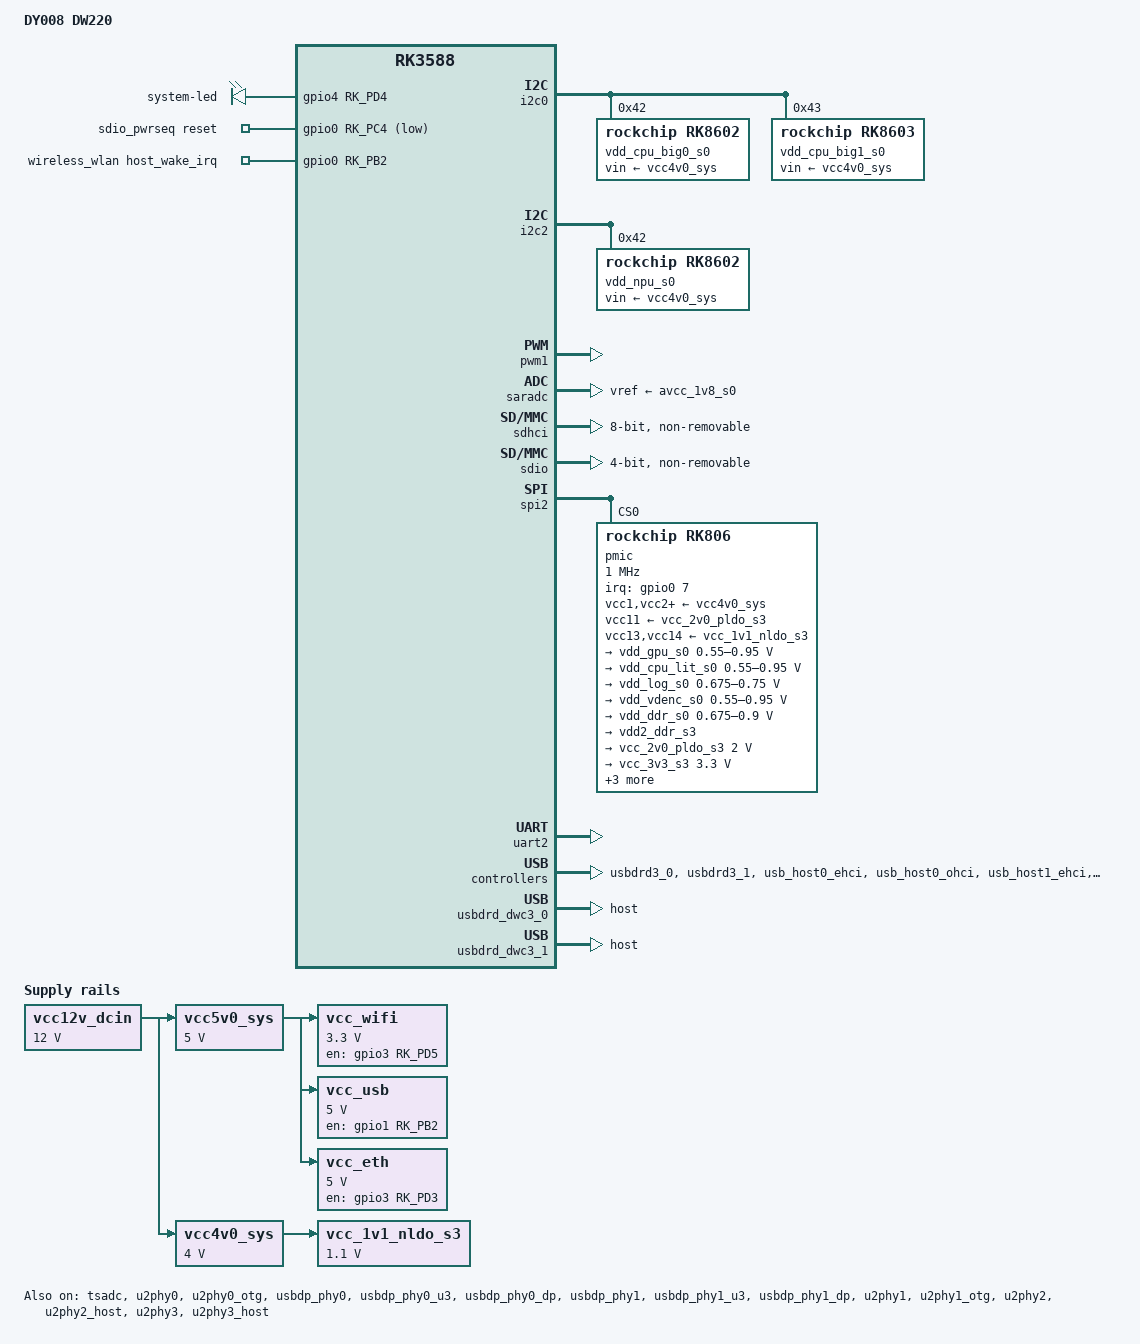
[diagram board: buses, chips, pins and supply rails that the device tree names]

// SPDX-License-Identifier: (GPL-2.0+ OR MIT)
/*
 * Copyright (c) 2021 Rockchip Electronics Co., Ltd.
 * Copyright (c) 2023 Thomas McKahan
 *
 */

/dts-v1/;

#include <dt-bindings/gpio/gpio.h>
#include <dt-bindings/pinctrl/rockchip.h>
#include <dt-bindings/usb/pd.h>
#include "rk3588.dtsi"

/ {
	model = "DY008 DW220";
	compatible = "dy008,dw220", "rockchip,rk3588";

	aliases {
		mmc0 = &sdhci;
		mmc1 = &sdmmc;
	};

	chosen {
		stdout-path = "serial2:1500000n8";
	};

	leds {
		compatible = "gpio-leds";

		sys_led: led-0 {
			gpios = <&gpio4 RK_PD4 GPIO_ACTIVE_HIGH>;
			label = "system-led";
			linux,default-trigger = "heartbeat";
			pinctrl-names = "default";
			pinctrl-0 = <&sys_led_pin>;
		};
	};

	vcc12v_dcin: vcc12v-dcin-regulator {
		compatible = "regulator-fixed";
		regulator-name = "vcc12v_dcin";
		regulator-always-on;
		regulator-boot-on;
		regulator-min-microvolt = <12000000>;
		regulator-max-microvolt = <12000000>;
	};

	/* vcc5v0_sys powers peripherals */
	vcc5v0_sys: vcc5v0-sys-regulator {
		compatible = "regulator-fixed";
		regulator-name = "vcc5v0_sys";
		regulator-always-on;
		regulator-boot-on;
		regulator-min-microvolt = <5000000>;
		regulator-max-microvolt = <5000000>;
		vin-supply = <&vcc12v_dcin>;
	};

	/* vcc4v0_sys powers the RK806, RK860's */
	vcc4v0_sys: vcc4v0-sys-regulator {
		compatible = "regulator-fixed";
		regulator-name = "vcc4v0_sys";
		regulator-always-on;
		regulator-boot-on;
		regulator-min-microvolt = <4000000>;
		regulator-max-microvolt = <4000000>;
		vin-supply = <&vcc12v_dcin>;
	};

	vcc_1v1_nldo_s3: vcc-1v1-nldo-s3-regulator {
		compatible = "regulator-fixed";
		regulator-name = "vcc-1v1-nldo-s3";
		regulator-always-on;
		regulator-boot-on;
		regulator-min-microvolt = <1100000>;
		regulator-max-microvolt = <1100000>;
		vin-supply = <&vcc4v0_sys>;
	};

	vcc_wifi: vcc-wifi {
		compatible = "regulator-fixed";
		regulator-name = "vcc_wifi";
		enable-active-high;
		regulator-always-on;
		regulator-boot-on;
		//gpios = <0x104 0x1d 0x00>;
        gpios = <&gpio3 RK_PD5 GPIO_ACTIVE_HIGH>;
		regulator-min-microvolt = <3300000>;
		regulator-max-microvolt = <3300000>;
		vin-supply = <&vcc5v0_sys>;
	};

    vcc_usb: vcc-usb {
		compatible = "regulator-fixed";
		regulator-name = "vcc_usb";
		enable-active-high;
		regulator-always-on;
		regulator-boot-on;
		//gpios = <0x1ab 0x0a 0x00>;
        gpios = <&gpio1 RK_PB2 GPIO_ACTIVE_HIGH>;
		regulator-min-microvolt = <5000000>;
		regulator-max-microvolt = <5000000>;
		pinctrl-names = "default";
		pinctrl-0 = <&vcc_usb_en>;
		vin-supply = <&vcc5v0_sys>;
	};

    vcc_eth: vcc-eth {
		compatible = "regulator-fixed";
		regulator-name = "vcc_eth";
		enable-active-high;
		regulator-always-on;
		regulator-boot-on;
		//gpios = <0x104 0x1b 0x00>;
        gpios = <&gpio3 RK_PD3 GPIO_ACTIVE_HIGH>;
		regulator-min-microvolt = <5000000>;
		regulator-max-microvolt = <5000000>;
		pinctrl-names = "default";
		pinctrl-0 = <&vcc_eth_en>;
		vin-supply = <&vcc5v0_sys>;
	};

    sdio_pwrseq:sdio-pwrseq {
		compatible = "mmc-pwrseq-simple";
		pinctrl-names = "default";
		pinctrl-0 = <&wifi_en_gpio>;
		//reset-gpios = <0x148 0x14 0x01>;
        reset-gpios = <&gpio0 RK_PC4 GPIO_ACTIVE_LOW>;
	};

	wireless_bluetooth: wireless-bluetooth {
		compatible = "bluetooth-platdata";
		// uart_rts_gpios = <0xe5 0x14 0x01>;
		//uart_rts_gpios = <&gpio4 RK_PC4 GPIO_ACTIVE_LOW>;
		//pinctrl-names = "default", "rts_gpio";
		//pinctrl-0 = <&uart9m0_rtsn>, <&bt_reset_gpio>;
		//pinctrl-1 = <&uart9_gpios>;
		// BT,reset_gpio = <0x12f 0x08 0x01>;
		//BT,reset_gpio = <&gpio0 RK_PB0 GPIO_ACTIVE_LOW>;
		status = "disabled";
	};	// ok

	wireless_wlan: wireless-wlan {
		compatible = "wlan-platdata";
		wifi_chip_type = "ap6256p";
        pinctrl-names = "default";
		pinctrl-0 = <0x1c7>;
        //WIFI,host_wake_irq = <0x148 0x0a 0x00>;
        WIFI,host_wake_irq = <&gpio0 RK_PB2 GPIO_ACTIVE_HIGH>;
		status = "okay";
	};
};

&combphy0_ps {
	status = "disabled";
};

&combphy1_ps {
	status = "disabled";
};

&combphy2_psu {
	status = "disabled";
};

&cpu_l0 {
	cpu-supply = <&vdd_cpu_lit_s0>;
};

&cpu_l1 {
	cpu-supply = <&vdd_cpu_lit_s0>;
};

&cpu_l2 {
	cpu-supply = <&vdd_cpu_lit_s0>;
};

&cpu_l3 {
	cpu-supply = <&vdd_cpu_lit_s0>;
};

&cpu_b0 {
	cpu-supply = <&vdd_cpu_big0_s0>;
};

&cpu_b1 {
	cpu-supply = <&vdd_cpu_big0_s0>;
};

&cpu_b2 {
	cpu-supply = <&vdd_cpu_big1_s0>;
};

&cpu_b3 {
	cpu-supply = <&vdd_cpu_big1_s0>;
};

&gpio0 {
	gpio-line-names = /* GPIO0 A0-A7 */
			  "", "", "", "",
			  "", "", "", "",
			  /* GPIO0 B0-B7 */
			  "", "", "", "",
			  "", "", "", "",
			  /* GPIO0 C0-C7 */
			  "", "", "", "",
			  "HEADER_10", "HEADER_08", "HEADER_32", "",
			  /* GPIO0 D0-D7 */
			  "", "", "", "",
			  "", "", "", "";
};

&gpio1 {
	gpio-line-names = /* GPIO1 A0-A7 */
			  "HEADER_27", "HEADER_28", "", "",
			  "", "", "", "HEADER_15",
			  /* GPIO1 B0-B7 */
			  "HEADER_26", "HEADER_21", "HEADER_19", "HEADER_23",
			  "HEADER_24", "HEADER_22", "", "",
			  /* GPIO1 C0-C7 */
			  "", "", "", "",
			  "", "", "", "",
			  /* GPIO1 D0-D7 */
			  "", "", "", "",
			  "", "", "HEADER_05", "HEADER_03";
};

&gpio2 {
	gpio-line-names = /* GPIO2 A0-A7 */
			  "", "", "", "",
			  "", "", "", "",
			  /* GPIO2 B0-B7 */
			  "", "", "", "",
			  "", "", "", "",
			  /* GPIO2 C0-C7 */
			  "", "CSI1_11", "CSI1_12", "",
			  "", "", "", "",
			  /* GPIO2 D0-D7 */
			  "", "", "", "",
			  "", "", "", "";
};

&gpio3 {
	gpio-line-names = /* GPIO3 A0-A7 */
			  "HEADER_35", "HEADER_38", "HEADER_40", "HEADER_36",
			  "HEADER_37", "", "DSI0_12", "",
			  /* GPIO3 B0-B7 */
			  "HEADER_33", "DSI0_10", "HEADER_07", "HEADER_16",
			  "HEADER_18", "HEADER_29", "HEADER_31", "HEADER_12",
			  /* GPIO3 C0-C7 */
			  "DSI0_08", "DSI0_14", "HEADER_11", "HEADER_13",
			  "", "", "", "",
			  /* GPIO3 D0-D7 */
			  "", "", "", "",
			  "", "DSI1_10", "", "";
};

&gpio4 {
	gpio-line-names = /* GPIO4 A0-A7 */
			  "DSI1_08", "DSI1_14", "", "DSI1_12",
			  "", "", "", "",
			  /* GPIO4 B0-B7 */
			  "", "", "", "",
			  "", "", "", "",
			  /* GPIO4 C0-C7 */
			  "", "", "", "",
			  "CSI0_11", "CSI0_12", "", "",
			  /* GPIO4 D0-D7 */
			  "", "", "", "",
			  "", "", "", "";
};

&i2c0 {
	pinctrl-names = "default";
	pinctrl-0 = <&i2c0m2_xfer>;
	status = "okay";

	vdd_cpu_big0_s0: regulator@42 {
		compatible = "rockchip,rk8602";
		reg = <0x42>;
		fcs,suspend-voltage-selector = <1>;
		regulator-name = "vdd_cpu_big0_s0";
		regulator-always-on;
		regulator-boot-on;
		regulator-min-microvolt = <550000>;
		regulator-max-microvolt = <1050000>;
		regulator-ramp-delay = <2300>;
		vin-supply = <&vcc4v0_sys>;

		regulator-state-mem {
			regulator-off-in-suspend;
		};
	};

	vdd_cpu_big1_s0: regulator@43 {
		compatible = "rockchip,rk8603", "rockchip,rk8602";
		reg = <0x43>;
		fcs,suspend-voltage-selector = <1>;
		regulator-name = "vdd_cpu_big1_s0";
		regulator-always-on;
		regulator-boot-on;
		regulator-min-microvolt = <550000>;
		regulator-max-microvolt = <1050000>;
		regulator-ramp-delay = <2300>;
		vin-supply = <&vcc4v0_sys>;

		regulator-state-mem {
			regulator-off-in-suspend;
		};
	};
};

&i2c2 {
	status = "okay";
	pinctrl-0 = <&i2c2m0_xfer>;

	vdd_npu_s0: regulator@42 {
		compatible = "rockchip,rk8602";
		reg = <0x42>;
		rockchip,suspend-voltage-selector = <1>;
		regulator-name = "vdd_npu_s0";
		regulator-always-on;
		regulator-boot-on;
		regulator-min-microvolt = <550000>;
		regulator-max-microvolt = <950000>;
		regulator-ramp-delay = <2300>;
		vin-supply = <&vcc4v0_sys>;

		regulator-state-mem {
			regulator-off-in-suspend;
		};
	};
};

&pinctrl {
	gpio-leds {
		sys_led_pin: sys-led-pin {
			rockchip,pins = <4 RK_PD4 RK_FUNC_GPIO &pcfg_pull_none>;
		};
	};

	gpio-phy_power {

			wifi_en_gpio: wifi-en-gpio {
				//rockchip,pins = <0x00 0x14 0x00 0x188>;
				rockchip,pins = <0 RK_PC4 RK_FUNC_GPIO &pcfg_pull_none>;
			};
			
			vcc_usb_en: vcc-usb-en {
				//gpios = <&gpio1 RK_PB2 GPIO_ACTIVE_HIGH>;
				rockchip,pins = <1 RK_PB2 RK_FUNC_GPIO &pcfg_pull_none>;
			};

			vcc_eth_en: vcc-eth-en {
				//gpios = <&gpio3 RK_PD3 GPIO_ACTIVE_HIGH>;
				rockchip,pins = <3 RK_PD3 RK_FUNC_GPIO &pcfg_pull_none>;
			};
	};
};

&pwm1 {
	pinctrl-0 = <&pwm1m1_pins>;
	status = "okay";
};

&saradc {
	vref-supply = <&avcc_1v8_s0>;
	status = "okay";
};

&sdhci {
	bus-width = <8>;
	no-sdio;
	no-sd;
	non-removable;
	max-frequency = <200000000>;
	mmc-hs400-1_8v;
	mmc-hs400-enhanced-strobe;
	status = "okay";
};

&sdio {
	max-frequency = <150000000>;
	supports-sdio;
	bus-width = <4>;
	disable-wp;
	cap-sd-highspeed;
	cap-sdio-irq;
	keep-power-in-suspend;
	mmc-pwrseq = <&sdio_pwrseq>;
	non-removable;
	num-slots = <1>;
	pinctrl-names = "default";
	pinctrl-0 = <&sdiom0_pins>;
	sd-uhs-sdr104;
	status = "okay";
};

&spi2 {
	status = "okay";
	assigned-clocks = <&cru CLK_SPI2>;
	assigned-clock-rates = <200000000>;
	pinctrl-names = "default";
	pinctrl-0 = <&spi2m2_cs0 &spi2m2_pins>;
	num-cs = <1>;

	pmic@0 {
		compatible = "rockchip,rk806";
		spi-max-frequency = <1000000>;
		reg = <0x0>;

		interrupt-parent = <&gpio0>;
		interrupts = <7 IRQ_TYPE_LEVEL_LOW>;

		pinctrl-names = "default";
		pinctrl-0 = <&pmic_pins>, <&rk806_dvs1_null>,
			    <&rk806_dvs2_null>, <&rk806_dvs3_null>;

		system-power-controller;

		vcc1-supply = <&vcc4v0_sys>;
		vcc2-supply = <&vcc4v0_sys>;
		vcc3-supply = <&vcc4v0_sys>;
		vcc4-supply = <&vcc4v0_sys>;
		vcc5-supply = <&vcc4v0_sys>;
		vcc6-supply = <&vcc4v0_sys>;
		vcc7-supply = <&vcc4v0_sys>;
		vcc8-supply = <&vcc4v0_sys>;
		vcc9-supply = <&vcc4v0_sys>;
		vcc10-supply = <&vcc4v0_sys>;
		vcc11-supply = <&vcc_2v0_pldo_s3>;
		vcc12-supply = <&vcc4v0_sys>;
		vcc13-supply = <&vcc_1v1_nldo_s3>;
		vcc14-supply = <&vcc_1v1_nldo_s3>;
		vcca-supply = <&vcc4v0_sys>;

		gpio-controller;
		#gpio-cells = <2>;

		rk806_dvs1_null: dvs1-null-pins {
			pins = "gpio_pwrctrl1";
			function = "pin_fun0";
		};

		rk806_dvs2_null: dvs2-null-pins {
			pins = "gpio_pwrctrl2";
			function = "pin_fun0";
		};

		rk806_dvs3_null: dvs3-null-pins {
			pins = "gpio_pwrctrl3";
			function = "pin_fun0";
		};

		regulators {
			vdd_gpu_s0: vdd_gpu_mem_s0: dcdc-reg1 {
				regulator-boot-on;
				regulator-min-microvolt = <550000>;
				regulator-max-microvolt = <950000>;
				regulator-ramp-delay = <12500>;
				regulator-name = "vdd_gpu_s0";
				regulator-enable-ramp-delay = <400>;

				regulator-state-mem {
					regulator-off-in-suspend;
				};
			};

			vdd_cpu_lit_s0: vdd_cpu_lit_mem_s0: dcdc-reg2 {
				regulator-always-on;
				regulator-boot-on;
				regulator-min-microvolt = <550000>;
				regulator-max-microvolt = <950000>;
				regulator-ramp-delay = <12500>;
				regulator-name = "vdd_cpu_lit_s0";

				regulator-state-mem {
					regulator-off-in-suspend;
				};
			};

			vdd_log_s0: dcdc-reg3 {
				regulator-always-on;
				regulator-boot-on;
				regulator-min-microvolt = <675000>;
				regulator-max-microvolt = <750000>;
				regulator-ramp-delay = <12500>;
				regulator-name = "vdd_log_s0";

				regulator-state-mem {
					regulator-off-in-suspend;
					regulator-suspend-microvolt = <750000>;
				};
			};

			vdd_vdenc_s0: vdd_vdenc_mem_s0: dcdc-reg4 {
				regulator-always-on;
				regulator-boot-on;
				regulator-min-microvolt = <550000>;
				regulator-max-microvolt = <950000>;
				regulator-init-microvolt = <750000>;
				regulator-ramp-delay = <12500>;
				regulator-name = "vdd_vdenc_s0";

				regulator-state-mem {
					regulator-off-in-suspend;
				};
			};

			vdd_ddr_s0: dcdc-reg5 {
				regulator-always-on;
				regulator-boot-on;
				regulator-min-microvolt = <675000>;
				regulator-max-microvolt = <900000>;
				regulator-ramp-delay = <12500>;
				regulator-name = "vdd_ddr_s0";

				regulator-state-mem {
					regulator-off-in-suspend;
					regulator-suspend-microvolt = <850000>;
				};
			};

			vdd2_ddr_s3: dcdc-reg6 {
				regulator-always-on;
				regulator-boot-on;
				regulator-name = "vdd2_ddr_s3";

				regulator-state-mem {
					regulator-on-in-suspend;
				};
			};

			vcc_2v0_pldo_s3: dcdc-reg7 {
				regulator-always-on;
				regulator-boot-on;
				regulator-min-microvolt = <2000000>;
				regulator-max-microvolt = <2000000>;
				regulator-ramp-delay = <12500>;
				regulator-name = "vdd_2v0_pldo_s3";

				regulator-state-mem {
					regulator-on-in-suspend;
					regulator-suspend-microvolt = <2000000>;
				};
			};

			vcc_3v3_s3: dcdc-reg8 {
				regulator-always-on;
				regulator-boot-on;
				regulator-min-microvolt = <3300000>;
				regulator-max-microvolt = <3300000>;
				regulator-name = "vcc_3v3_s3";

				regulator-state-mem {
					regulator-on-in-suspend;
					regulator-suspend-microvolt = <3300000>;
				};
			};

			vddq_ddr_s0: dcdc-reg9 {
				regulator-always-on;
				regulator-boot-on;
				regulator-name = "vddq_ddr_s0";

				regulator-state-mem {
					regulator-off-in-suspend;
				};
			};

			vcc_1v8_s3: dcdc-reg10 {
				regulator-always-on;
				regulator-boot-on;
				regulator-min-microvolt = <1800000>;
				regulator-max-microvolt = <1800000>;
				regulator-name = "vcc_1v8_s3";

				regulator-state-mem {
					regulator-on-in-suspend;
					regulator-suspend-microvolt = <1800000>;
				};
			};

			avcc_1v8_s0: pldo-reg1 {
				regulator-always-on;
				regulator-boot-on;
				regulator-min-microvolt = <1800000>;
				regulator-max-microvolt = <1800000>;
				regulator-name = "avcc_1v8_s0";

				regulator-state-mem {
					regulator-off-in-suspend;
				};
			};

			vcc_1v8_s0: pldo-reg2 {
				regulator-always-on;
				regulator-boot-on;
				regulator-min-microvolt = <1800000>;
				regulator-max-microvolt = <1800000>;
				regulator-name = "vcc_1v8_s0";

				regulator-state-mem {
					regulator-off-in-suspend;
					regulator-suspend-microvolt = <1800000>;
				};
			};

			avdd_1v2_s0: pldo-reg3 {
				regulator-always-on;
				regulator-boot-on;
				regulator-min-microvolt = <1200000>;
				regulator-max-microvolt = <1200000>;
				regulator-name = "avdd_1v2_s0";

				regulator-state-mem {
					regulator-off-in-suspend;
				};
			};

			vcc_3v3_s0: pldo-reg4 {
				regulator-always-on;
				regulator-boot-on;
				regulator-min-microvolt = <3300000>;
				regulator-max-microvolt = <3300000>;
				regulator-ramp-delay = <12500>;
				regulator-name = "vcc_3v3_s0";

				regulator-state-mem {
					regulator-off-in-suspend;
				};
			};

			vccio_sd_s0: pldo-reg5 {
				regulator-always-on;
				regulator-boot-on;
				regulator-min-microvolt = <1800000>;
				regulator-max-microvolt = <3300000>;
				regulator-ramp-delay = <12500>;
				regulator-name = "vccio_sd_s0";

				regulator-state-mem {
					regulator-off-in-suspend;
				};
			};

			pldo6_s3: pldo-reg6 {
				regulator-always-on;
				regulator-boot-on;
				regulator-min-microvolt = <1800000>;
				regulator-max-microvolt = <1800000>;
				regulator-name = "pldo6_s3";

				regulator-state-mem {
					regulator-on-in-suspend;
					regulator-suspend-microvolt = <1800000>;
				};
			};

			vdd_0v75_s3: nldo-reg1 {
				regulator-always-on;
				regulator-boot-on;
				regulator-min-microvolt = <750000>;
				regulator-max-microvolt = <750000>;
				regulator-name = "vdd_0v75_s3";

				regulator-state-mem {
					regulator-on-in-suspend;
					regulator-suspend-microvolt = <750000>;
				};
			};

			vdd_ddr_pll_s0: nldo-reg2 {
				regulator-always-on;
				regulator-boot-on;
				regulator-min-microvolt = <850000>;
				regulator-max-microvolt = <850000>;
				regulator-name = "vdd_ddr_pll_s0";

				regulator-state-mem {
					regulator-off-in-suspend;
					regulator-suspend-microvolt = <850000>;
				};
			};

			avdd_0v75_s0: nldo-reg3 {
				regulator-always-on;
				regulator-boot-on;
				regulator-min-microvolt = <750000>;
				regulator-max-microvolt = <750000>;
				regulator-name = "avdd_0v75_s0";

				regulator-state-mem {
					regulator-off-in-suspend;
				};
			};

			vdd_0v85_s0: nldo-reg4 {
				regulator-always-on;
				regulator-boot-on;
				regulator-min-microvolt = <850000>;
				regulator-max-microvolt = <850000>;
				regulator-name = "vdd_0v85_s0";

				regulator-state-mem {
					regulator-off-in-suspend;
				};
			};

			vdd_0v75_s0: nldo-reg5 {
				regulator-always-on;
				regulator-boot-on;
				regulator-min-microvolt = <750000>;
				regulator-max-microvolt = <750000>;
				regulator-name = "vdd_0v75_s0";

				regulator-state-mem {
					regulator-off-in-suspend;
				};
			};
		};
	};
};

&tsadc {
	status = "okay";
};

&uart2 {
	pinctrl-0 = <&uart2m0_xfer>;
	status = "okay";
};

// USB3.0 OTG1(DWC3/xHCI) TYPE-C0
//配置dr_mode = "peripheral" 通知DWC3驱动初始化为Device only mode
//配置"phys = <&u2phy0_otg>" 即不引用USBDP PHY
//配置maximum-speed = "high-speed" 通知DWC3驱动将USB限制为USB2.0 only
&usbdrd3_0{
	status = "okay";
};

&usbdrd_dwc3_0 {	
	status = "okay";
	dr_mode = "host";
	maximum-speed = "high-speed";
};

&u2phy0 {
    status = "okay";
};

&u2phy0_otg {
	status = "okay";
};

&usbdp_phy0 {
	status = "okay";
	rockchip,dp-lane-mux = <0 1 2 3>;
};

&usbdp_phy0_u3 {
	maximum-speed = "high-speed";
	status = "okay";
};

&usbdp_phy0_dp {
	status = "okay";
};

// USB3.0 OTG1(DWC3/xHCI) TYPE-C1
&usbdrd3_1{
	status = "okay";
};
//如果配置dr_mode为otg，同时配置extcon = <&u2phy1>属性，才能支持软件切换Device/Host mode
&usbdrd_dwc3_1 {
	status = "okay";
	dr_mode = "host";
	maximum-speed = "high-speed";
};
// TYPE-C1 USB3.0/DP  Combo PHY1
&usbdp_phy1 {
	status = "okay";
	rockchip,dp-lane-mux = <0 1 2 3>;
};

&usbdp_phy1_u3 {
	maximum-speed = "high-speed";
	status = "okay";
};

&usbdp_phy1_dp {
	status = "okay";
};

// TYPE-C1 USB2.0 PHY1
&u2phy1 {
    status = "okay";
};

&u2phy1_otg {
	status = "okay";
};

// #配置USB3.1 HOST2 Controller
&usbhost3_0 {
    status = "disabled";
};

&usbhost_dwc3_0 {
    dr_mode = "host";
    status = "disabled";
};


//使能USB3.1/SATA/PCIe Combo PHY
&combphy0_ps {
	status = "disabled";
};

&combphy1_ps {
	status = "disabled";	
};

// combUSB3.1
&combphy2_psu {
	status = "disabled";
};

// #USB2.0 HOST0/1 Controller
&usb_host0_ehci {
    status = "okay";
};

&usb_host0_ohci {
    status = "okay";
};

&usb_host1_ehci {
    status = "okay";
};

&usb_host1_ohci {
    status = "okay";
};
// #USB2.0 PHY2/3配置"phy-supply"属性，用于控制VBUS输出5V
&u2phy2 {
	status = "okay";
};

&u2phy2_host {
	phy-supply = <&vcc_usb>;
	status = "okay";
};

&u2phy3 {
   status = "okay";
};

&u2phy3_host {
	phy-supply = <&vcc_eth>;
	status = "okay";
};
